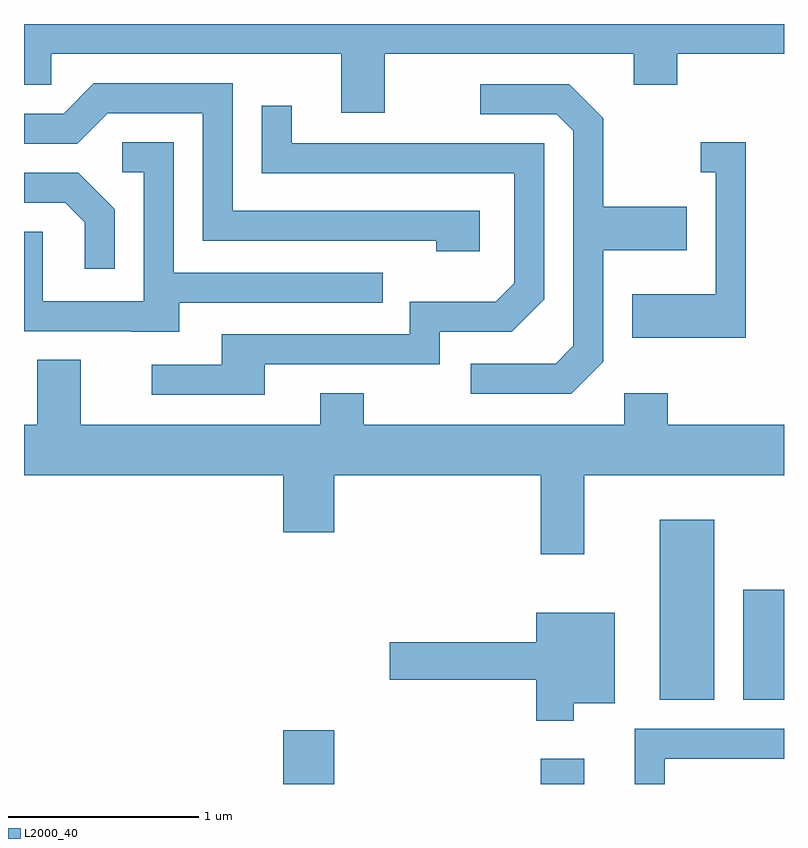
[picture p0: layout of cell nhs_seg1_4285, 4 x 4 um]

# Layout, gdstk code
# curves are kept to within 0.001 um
import gdstk
lib = gdstk.Library(unit=1e-6, precision=1e-09)
def R(c, l, rs):  # rectangles x0, y0, x1, y1
    for r in rs: c.add(gdstk.rectangle(r[:2], r[2:], *l))
def P(c, l, *ps):  # polygons
    for p in ps: c.add(gdstk.Polygon(p, *l))
L2000_40 = (2000, 40)

nhs_seg1_4285 = lib.new_cell('nhs_seg1_4285')
R(nhs_seg1_4285, L2000_40, [(314.976,915.712,315.244,915.994), (316.331,915.712,316.559,915.844), (316.956,916.156,317.244,917.104), (317.396,916.156,317.611,916.734)])
P(nhs_seg1_4285, L2000_40, [(315.509,919.556),(316.821,919.556),(316.821,919.391),(317.049,919.391),(317.049,919.556),(317.611,919.556),(317.611,919.712),(313.611,919.712),(313.611,919.391),(313.754,919.391),(313.754,919.556),(315.281,919.556),(315.281,919.246),(315.509,919.246)],
  [(316.009,918.729),(314.709,918.729),(314.709,919.399),(313.979,919.399),(313.819,919.239),(313.611,919.239),(313.611,919.081),(313.892,919.081),(314.052,919.241),(314.551,919.241),(314.551,918.571),(315.781,918.571),(315.781,918.516),(316.009,918.516)],
  [(316.659,917.934),(316.659,918.521),(317.099,918.521),(317.099,918.749),(316.659,918.749),(316.659,919.217),(316.482,919.394),(316.013,919.394),(316.013,919.236),(316.414,919.236),(316.501,919.149),(316.501,918.017),(316.409,917.924),(315.963,917.924),(315.963,917.766),(316.492,917.766)],
  [(314.879,917.921),(315.799,917.921),(315.799,918.091),(316.177,918.091),(316.349,918.264),(316.349,919.084),(315.019,919.084),(315.019,919.283),(314.861,919.283),(314.861,918.926),(316.191,918.926),(316.191,918.347),(316.094,918.249),(315.641,918.249),(315.641,918.079),(314.651,918.079),(314.651,917.919),(314.283,917.919),(314.283,917.761),(314.879,917.761)],
  [(317.409,919.089),(317.173,919.089),(317.173,918.931),(317.251,918.931),(317.251,918.289),(316.811,918.289),(316.811,918.061),(317.409,918.061)],
  [(314.429,918.246),(315.498,918.246),(315.498,918.404),(314.399,918.404),(314.399,919.089),(314.128,919.089),(314.128,918.931),(314.241,918.931),(314.241,918.254),(313.709,918.254),(313.709,918.619),(313.611,918.619),(313.611,918.096),(314.175,918.096),(314.175,918.091),(314.429,918.091)],
  [(314.089,918.737),(313.897,918.929),(313.611,918.929),(313.611,918.771),(313.829,918.771),(313.931,918.669),(313.931,918.423),(314.089,918.423)],
  [(316.559,917.336),(317.611,917.336),(317.611,917.604),(316.999,917.604),(316.999,917.769),(316.771,917.769),(316.771,917.604),(315.399,917.604),(315.399,917.769),(315.171,917.769),(315.171,917.604),(313.909,917.604),(313.909,917.944),(313.681,917.944),(313.681,917.604),(313.611,917.604),(313.611,917.336),(314.976,917.336),(314.976,917.036),(315.244,917.036),(315.244,917.336),(316.331,917.336),(316.331,916.921),(316.559,916.921)],
  [(316.504,916.136),(316.719,916.136),(316.719,916.614),(316.306,916.614),(316.306,916.459),(315.536,916.459),(315.536,916.261),(316.306,916.261),(316.306,916.046),(316.504,916.046)],
  [(316.984,915.846),(317.611,915.846),(317.611,916.004),(316.826,916.004),(316.826,915.712),(316.984,915.712)])

lib.write_gds('nhs_seg1_4285.gds')
